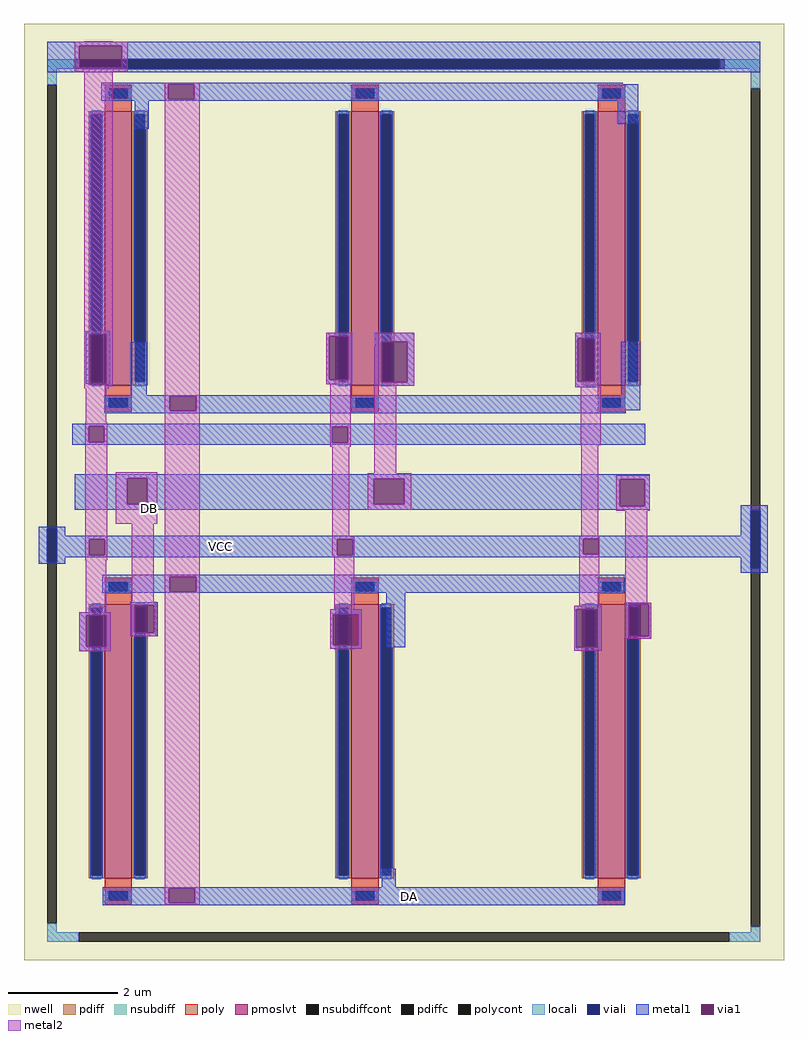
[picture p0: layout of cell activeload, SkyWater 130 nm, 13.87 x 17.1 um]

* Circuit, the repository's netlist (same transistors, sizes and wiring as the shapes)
** sch_path: /home/dmatkin/tt07-dual-oscillator/xschem/activeload.sch
.subckt activeload VCC DB DA
*.PININFO DA:B DB:B VCC:B
XM4 DA DA VCC VCC sky130_fd_pr__pfet_01v8_lvt L=0.5 W=5 nf=1 m=3
XM5 DB DA VCC VCC sky130_fd_pr__pfet_01v8_lvt L=0.5 W=5 nf=1 m=3
.ends
.end

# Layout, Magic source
magic
tech sky130A
<< nwell >>
rect 0 0 1387 1710
<< nsubdiff >>
rect 42 1627 92 1645
rect 1279 1627 1344 1645
rect 42 1598 60 1627
rect 42 52 60 68
rect 1326 1592 1344 1627
rect 1326 52 1344 62
rect 42 34 100 52
rect 1287 34 1344 52
<< nsubdiffcont >>
rect 92 1627 1279 1645
rect 42 68 60 1598
rect 1326 62 1344 1592
rect 100 34 1287 52
<< locali >>
rect 42 1627 92 1645
rect 1279 1627 1344 1645
rect 42 1598 60 1627
rect 42 52 60 68
rect 1326 1592 1344 1627
rect 1326 52 1344 62
rect 42 34 100 52
rect 1287 34 1344 52
<< viali >>
rect 103 1627 1270 1645
rect 42 727 60 789
rect 1326 716 1344 822
<< metal1 >>
rect 42 1669 1344 1677
rect 42 1629 101 1669
rect 178 1645 1344 1669
rect 42 1627 103 1629
rect 1270 1627 1344 1645
rect 42 1621 1344 1627
rect 141 1599 1093 1602
rect 141 1572 263 1599
rect 311 1572 1121 1599
rect 141 1569 1121 1572
rect 202 1518 228 1569
rect 1084 1527 1121 1569
rect 113 1143 157 1148
rect 113 1053 120 1143
rect 150 1053 157 1143
rect 552 1139 599 1146
rect 195 1032 224 1128
rect 552 1060 557 1139
rect 592 1060 599 1139
rect 552 1052 599 1060
rect 640 1129 712 1146
rect 640 1055 653 1129
rect 699 1055 712 1129
rect 640 1049 712 1055
rect 1006 1136 1052 1146
rect 1006 1057 1011 1136
rect 1042 1057 1052 1136
rect 1006 1046 1052 1057
rect 1090 1032 1125 1129
rect 146 1030 1125 1032
rect 146 1003 266 1030
rect 314 1004 1125 1030
rect 314 1003 1098 1004
rect 146 999 1098 1003
rect 88 975 1134 980
rect 88 946 118 975
rect 146 974 1134 975
rect 146 946 563 974
rect 88 945 563 946
rect 591 945 1134 974
rect 88 941 1134 945
rect 93 880 1142 887
rect 93 833 188 880
rect 225 879 1142 880
rect 225 833 638 879
rect 694 878 1142 879
rect 694 833 1087 878
rect 93 829 1087 833
rect 1133 829 1142 878
rect 93 823 1142 829
rect 1308 822 1357 831
rect 27 789 75 792
rect 27 727 42 789
rect 60 775 75 789
rect 1308 775 1326 822
rect 60 770 1326 775
rect 60 769 1021 770
rect 60 740 119 769
rect 147 740 572 769
rect 600 741 1021 769
rect 1049 741 1326 770
rect 600 740 1326 741
rect 60 736 1326 740
rect 60 727 75 736
rect 27 724 75 727
rect 1308 716 1326 736
rect 1344 716 1357 822
rect 1308 708 1357 716
rect 143 700 1095 704
rect 143 673 266 700
rect 314 673 1095 700
rect 143 671 1095 673
rect 194 648 244 654
rect 101 630 158 636
rect 101 573 114 630
rect 150 573 158 630
rect 194 598 202 648
rect 238 598 244 648
rect 194 592 244 598
rect 559 632 616 641
rect 101 564 158 573
rect 559 575 564 632
rect 610 575 616 632
rect 559 569 616 575
rect 661 572 696 671
rect 1098 650 1145 653
rect 1004 641 1054 647
rect 1004 572 1008 641
rect 1047 572 1054 641
rect 1098 592 1104 650
rect 1140 592 1145 650
rect 1098 587 1145 592
rect 1004 565 1054 572
rect 653 134 678 167
rect 144 132 1096 134
rect 144 105 264 132
rect 312 105 1096 132
rect 144 101 1096 105
<< via1 >>
rect 101 1645 178 1669
rect 101 1629 103 1645
rect 103 1629 178 1645
rect 263 1572 311 1599
rect 120 1053 150 1143
rect 557 1060 592 1139
rect 653 1055 699 1129
rect 1011 1057 1042 1136
rect 266 1003 314 1030
rect 118 946 146 975
rect 563 945 591 974
rect 188 833 225 880
rect 638 833 694 879
rect 1087 829 1133 878
rect 119 740 147 769
rect 572 740 600 769
rect 1021 741 1049 770
rect 266 673 314 700
rect 114 573 150 630
rect 202 598 238 648
rect 564 575 610 632
rect 1008 572 1047 641
rect 1104 592 1140 650
rect 264 105 312 132
<< metal2 >>
rect 110 1677 162 1678
rect 93 1669 189 1677
rect 93 1629 101 1669
rect 178 1629 189 1669
rect 93 1622 189 1629
rect 110 1143 162 1622
rect 110 1053 120 1143
rect 150 1053 162 1143
rect 110 1048 162 1053
rect 257 1599 321 1602
rect 257 1572 263 1599
rect 311 1572 321 1599
rect 110 1044 155 1048
rect 113 982 150 1044
rect 257 1030 321 1572
rect 552 1139 599 1146
rect 552 1060 557 1139
rect 592 1060 599 1139
rect 640 1129 712 1146
rect 640 1121 653 1129
rect 552 1052 599 1060
rect 639 1055 653 1121
rect 699 1055 712 1129
rect 257 1003 266 1030
rect 314 1003 321 1030
rect 112 975 152 982
rect 112 946 118 975
rect 146 946 152 975
rect 112 769 152 946
rect 167 880 243 891
rect 167 833 188 880
rect 225 833 243 880
rect 167 797 243 833
rect 112 740 119 769
rect 147 740 152 769
rect 112 730 152 740
rect 113 636 150 730
rect 197 655 237 797
rect 257 700 321 1003
rect 559 974 596 1052
rect 559 945 563 974
rect 591 945 596 974
rect 559 938 596 945
rect 639 1049 712 1055
rect 1006 1136 1053 1146
rect 1006 1057 1011 1136
rect 1042 1057 1053 1136
rect 563 774 594 938
rect 639 889 679 1049
rect 1006 1046 1053 1057
rect 1016 940 1053 1046
rect 627 879 707 889
rect 627 833 638 879
rect 694 833 707 879
rect 627 823 707 833
rect 1017 774 1048 940
rect 1081 878 1142 886
rect 1081 829 1087 878
rect 1133 829 1142 878
rect 1081 821 1142 829
rect 563 769 603 774
rect 563 740 572 769
rect 600 740 603 769
rect 563 739 603 740
rect 257 673 266 700
rect 314 673 321 700
rect 194 648 241 655
rect 101 630 158 636
rect 101 573 114 630
rect 150 573 158 630
rect 194 598 202 648
rect 238 598 241 648
rect 194 592 241 598
rect 101 564 158 573
rect 257 132 321 673
rect 566 641 603 739
rect 1013 770 1050 774
rect 1013 741 1021 770
rect 1049 741 1050 770
rect 1013 647 1050 741
rect 1097 653 1137 821
rect 1097 650 1145 653
rect 1004 641 1054 647
rect 559 632 616 641
rect 559 575 564 632
rect 610 575 616 632
rect 559 569 616 575
rect 1004 572 1008 641
rect 1047 572 1054 641
rect 1097 592 1104 650
rect 1140 592 1145 650
rect 1097 589 1145 592
rect 1098 587 1145 589
rect 566 568 603 569
rect 1004 565 1054 572
rect 257 105 264 132
rect 312 105 321 132
rect 257 102 321 105
use sky130_fd_pr__pfet_01v8_lvt_NFH92T  sky130_fd_pr__pfet_01v8_lvt_NFH92T_0
transform 1 0 622 0 1 1300
box -72 -300 72 300
use sky130_fd_pr__pfet_01v8_lvt_YS6JVD  sky130_fd_pr__pfet_01v8_lvt_YS6JVD_0
transform 1 0 1072 0 1 1300
box -72 -300 72 300
use sky130_fd_pr__pfet_01v8_lvt_YS6JVD  sky130_fd_pr__pfet_01v8_lvt_YS6JVD_1
transform 1 0 172 0 1 1300
box -72 -300 72 300
use sky130_fd_pr__pfet_01v8_lvt_YS6JVD  sky130_fd_pr__pfet_01v8_lvt_YS6JVD_2
transform 1 0 172 0 1 400
box -72 -300 72 300
use sky130_fd_pr__pfet_01v8_lvt_YS6JVD  sky130_fd_pr__pfet_01v8_lvt_YS6JVD_3
transform 1 0 622 0 1 400
box -72 -300 72 300
use sky130_fd_pr__pfet_01v8_lvt_YS6JVD  sky130_fd_pr__pfet_01v8_lvt_YS6JVD_4
transform 1 0 1072 0 1 400
box -72 -300 72 300
<< labels >>
flabel metal2 225 823 232 825 0 FreeSans 240 0 0 0 DB
port 4 nsew
flabel metal1 312 101 1096 134 0 FreeSans 240 0 0 0 DA
port 5 nsew
flabel metal1 147 736 572 775 0 FreeSans 240 0 0 0 VCC
port 6 nsew
<< end >>

# cell sky130_fd_pr__pfet_01v8_lvt_NFH92T: kit device sky130_fd_pr__pfet_01v8_lvt, w 5 l 0.5 m 1 nf 1 diffcov 100 polycov 100 guard 0 glc 0 grc 0 gtc 0 gbc 0 tbcov 100 rlcov 100 topc 1 botc 1 poverlap 1 doverlap 1 lmin 0.35 wmin 0.42 compatible {sky130_fd_pr__pfet_01v8 sky130_fd_pr__pfet_01v8_lvt sky130_fd_pr__pfet_01v8_hvt sky130_fd_pr__pfet_g5v0d10v5} full_metal 0 viasrc 100 viadrn 100 viagate 100 viagb 0 viagr 0 viagl 0 viagt 0

# cell sky130_fd_pr__pfet_01v8_lvt_YS6JVD: kit device sky130_fd_pr__pfet_01v8_lvt, w 5 l 0.5 m 1 nf 1 diffcov 100 polycov 100 guard 0 glc 0 grc 0 gtc 0 gbc 0 tbcov 100 rlcov 100 topc 1 botc 1 poverlap 0 doverlap 1 lmin 0.15 wmin 0.42 compatible {sky130_fd_pr__pfet_01v8 sky130_fd_pr__pfet_01v8_lvt sky130_fd_pr__pfet_01v8_hvt sky130_fd_pr__pfet_g5v0d10v5} full_metal 0 viasrc 100 viadrn 100 viagate 100 viagb 0 viagr 0 viagl 0 viagt 0
